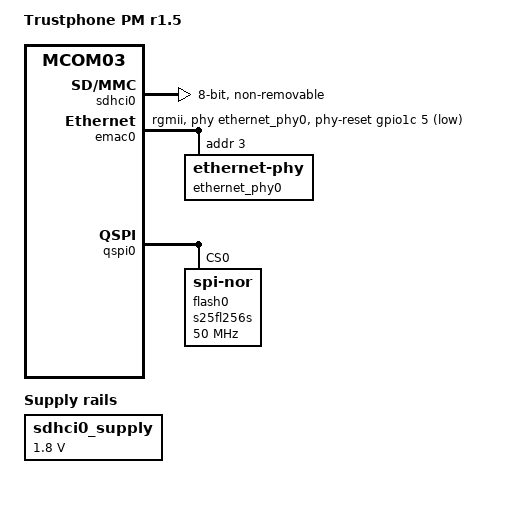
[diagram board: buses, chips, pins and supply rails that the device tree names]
// SPDX-License-Identifier: GPL-2.0+
/*
 * Copyright 2021-2023 RnD Center "ELVEES", JSC
 */

/dts-v1/;

#include <dt-bindings/gpio/gpio.h>

#include "mcom03.dtsi"

/ {
	model = "Trustphone PM r1.5";
	compatible = "elvees,trustphonepm-r1.5",
		     "elvees,trustphonepm",
		     "elvees,mcom03";

	sdhci0_supply: regulator@0 {
		compatible = "regulator-fixed";
		regulator-name = "sdhci0-supply";
		regulator-min-microvolt = <1800000>;
		regulator-max-microvolt = <1800000>;
		regulator-always-on;
	};

	/delete-node/ sdr@1900000;
};

/* Connected to eMMC */
&sdhci0 {
	status = "okay";

	non-removable;
	bus-width = <8>;

	vqmmc-supply = <&sdhci0_supply>;
};

&emac0 {
	phy-mode = "rgmii";
	phy-handle = <&ethernet_phy0>;
	phy-reset-gpios = <&gpio1c 5 GPIO_ACTIVE_LOW>;
	elvees,pads-1v8-en;

	ethernet_phy0: ethernet-phy@3 {
		reg = <0x3>;
		/* This is max GTX_CLK skew (0b11111 * 60ps/step)
		 * for KSZ9031 Ethernet PHY
		 */
		txc-skew-ps = <1860>;
	};
};

&qspi0 {
	status = "okay";

	flash0: s25fl256s@0 {
		#address-cells = <1>;
		#size-cells = <1>;
		compatible = "jedec,spi-nor", "spi-flash";
		reg = <0x0>;
		/* This is the highest frequency at which all commands are
		 * supported by the flash device.
		 */
		spi-max-frequency = <50000000>;

		spi-tx-bus-width = <4>;
		spi-rx-bus-width = <4>;
	};
};
